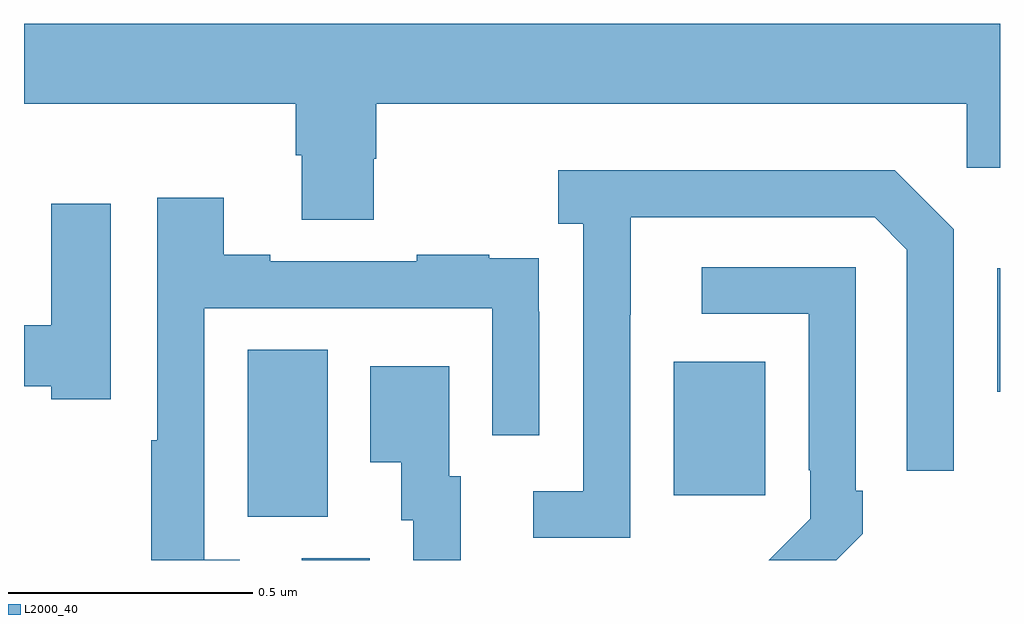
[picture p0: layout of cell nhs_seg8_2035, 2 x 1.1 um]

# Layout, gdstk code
import gdstk
lib = gdstk.Library(unit=1e-6, precision=1e-09)
def R(c, l, rs):  # rectangles x0, y0, x1, y1
    for r in rs: c.add(gdstk.rectangle(r[:2], r[2:], *l))
def P(c, l, *ps):  # polygons
    for p in ps: c.add(gdstk.Polygon(p, *l))
L2000_40 = (2000, 40)

nhs_seg8_2035 = lib.new_cell('nhs_seg8_2035')
R(nhs_seg8_2035, L2000_40, [(138.569,1112.9,138.709,1112.904), (138.458,1112.989,138.622,1113.332), (139.331,1113.033,139.519,1113.307), (139.994,1113.246,140,1113.499)])
P(nhs_seg8_2035, L2000_40, [(138.717,1113.723),(138.722,1113.723),(138.722,1113.836),(139.932,1113.836),(139.932,1113.705),(140,1113.705),(140,1114),(138,1114),(138,1113.836),(138.557,1113.836),(138.557,1113.73),(138.569,1113.73),(138.569,1113.598),(138.717,1113.598)],
  [(139.242,1113.403),(139.243,1113.403),(139.243,1113.603),(139.743,1113.603),(139.809,1113.537),(139.809,1113.084),(139.905,1113.084),(139.905,1113.579),(139.784,1113.7),(139.095,1113.7),(139.095,1113.59),(139.146,1113.59),(139.146,1113.042),(139.044,1113.042),(139.044,1112.946),(139.242,1112.946)],
  [(138.442,1112.901),(138.369,1112.901),(138.369,1113.417),(138.96,1113.417),(138.96,1113.156),(139.056,1113.156),(139.056,1113.41),(139.055,1113.41),(139.055,1113.519),(138.953,1113.519),(138.953,1113.526),(138.805,1113.526),(138.805,1113.513),(138.505,1113.513),(138.505,1113.526),(138.409,1113.526),(138.409,1113.643),(138.273,1113.643),(138.273,1113.146),(138.261,1113.146),(138.261,1112.9),(138.442,1112.9)],
  [(138.178,1113.631),(138.056,1113.631),(138.056,1113.382),(138,1113.382),(138,1113.257),(138.056,1113.257),(138.056,1113.23),(138.178,1113.23)],
  [(139.719,1112.955),(139.719,1113.043),(139.704,1113.043),(139.704,1113.501),(139.389,1113.501),(139.389,1113.405),(139.608,1113.405),(139.608,1113.085),(139.611,1113.085),(139.611,1112.985),(139.526,1112.9),(139.664,1112.9)],
  [(138.895,1113.072),(138.871,1113.072),(138.871,1113.298),(138.71,1113.298),(138.71,1113.101),(138.773,1113.101),(138.773,1112.982),(138.798,1112.982),(138.798,1112.9),(138.895,1112.9)])

lib.write_gds('nhs_seg8_2035.gds')
